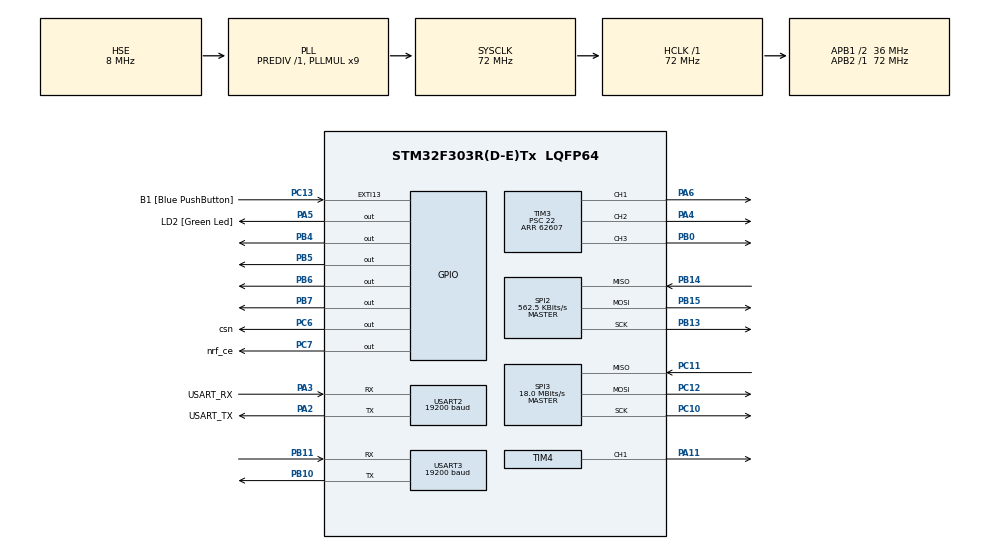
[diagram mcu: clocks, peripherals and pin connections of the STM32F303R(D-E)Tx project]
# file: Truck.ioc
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Mcu.Family=STM32F3
Mcu.Name=STM32F303R(D-E)Tx
Mcu.Package=LQFP64
NVIC.PriorityGroup=NVIC_PRIORITYGROUP_0
NVIC.USART3_IRQn=true\:0\:0\:false\:false\:true\:true\:true
PA11.Signal=S_TIM4_CH1
PA13.GPIO_Label=TMS
PA13.Mode=Serial_Wire
PA13.Signal=SYS_JTMS-SWDIO
PA14.GPIO_Label=TCK
PA14.Mode=Serial_Wire
PA14.Signal=SYS_JTCK-SWCLK
PA2.GPIO_Label=USART_TX
PA2.GPIO_Mode=GPIO_MODE_AF_PP
PA2.GPIO_PuPd=GPIO_NOPULL
PA2.GPIO_Speed=GPIO_SPEED_FREQ_LOW
PA2.Mode=Asynchronous
PA2.Signal=USART2_TX
PA3.GPIO_Label=USART_RX
PA3.GPIO_Mode=GPIO_MODE_AF_PP
PA3.GPIO_PuPd=GPIO_NOPULL
PA3.GPIO_Speed=GPIO_SPEED_FREQ_LOW
PA3.Mode=Asynchronous
PA3.Signal=USART2_RX
PA4.Signal=S_TIM3_CH2
PA5.GPIO_Label=LD2 [Green Led]
PA5.GPIO_Mode=GPIO_MODE_OUTPUT_PP
PA5.GPIO_PuPd=GPIO_NOPULL
PA5.GPIO_Speed=GPIO_SPEED_FREQ_LOW
PA5.Signal=GPIO_Output
PA6.Signal=S_TIM3_CH1
PB0.Signal=S_TIM3_CH3
PB10.Mode=Asynchronous
PB10.Signal=USART3_TX
PB11.Mode=Asynchronous
PB11.Signal=USART3_RX
PB13.Mode=Full_Duplex_Master
PB13.Signal=SPI2_SCK
PB14.Mode=Full_Duplex_Master
PB14.Signal=SPI2_MISO
PB15.Mode=Full_Duplex_Master
PB15.Signal=SPI2_MOSI
PB3.GPIO_Label=SWO
PB3.Signal=SYS_JTDO-TRACESWO
PB4.Signal=GPIO_Output
PB5.Signal=GPIO_Output
PB6.Signal=GPIO_Output
PB7.Signal=GPIO_Output
PC10.Mode=Full_Duplex_Master
PC10.Signal=SPI3_SCK
PC11.Mode=Full_Duplex_Master
PC11.Signal=SPI3_MISO
PC12.Mode=Full_Duplex_Master
PC12.Signal=SPI3_MOSI
PC13.GPIO_Label=B1 [Blue PushButton]
PC13.GPIO_ModeDefaultEXTI=GPIO_MODE_IT_FALLING
PC13.Signal=GPXTI13
PC14-OSC32_IN.Mode=LSE-External-Oscillator
PC14-OSC32_IN.Signal=RCC_OSC32_IN
PC15-OSC32_OUT.Mode=LSE-External-Oscillator
PC15-OSC32_OUT.Signal=RCC_OSC32_OUT
PC6.GPIO_Label=csn
PC6.Signal=GPIO_Output
PC7.GPIO_Label=nrf_ce
PC7.Signal=GPIO_Output
PF0-OSC_IN.Mode=HSE-External-Clock-Source
PF0-OSC_IN.Signal=RCC_OSC_IN
PF1-OSC_OUT.Signal=RCC_OSC_OUT
ProjectManager.HeapSize=0x200
ProjectManager.StackSize=0x400
ProjectManager.TargetToolchain=SW4STM32
RCC.AHBFreq_Value=72000000
RCC.APB1CLKDivider=RCC_HCLK_DIV2
RCC.APB1Freq_Value=36000000
RCC.APB1TimFreq_Value=72000000
RCC.APB2Freq_Value=72000000
RCC.APB2TimFreq_Value=72000000
RCC.CortexFreq_Value=72000000
RCC.HCLKFreq_Value=72000000
RCC.HSE_VALUE=8000000
RCC.HSI_VALUE=8000000
RCC.PLLM=8
RCC.PLLMUL=RCC_PLL_MUL9
RCC.PLLN=336
RCC.PLLP=RCC_PLLP_DIV4
RCC.PLLQ=7
RCC.PLLSourceVirtual=RCC_PLLSOURCE_HSE
RCC.RCC_PLLsource_Clock_Source_FROM_HSE=RCC_HSE_PREDIV_DIV2
RCC.SYSCLKFreq_VALUE=72000000
RCC.SYSCLKSourceVirtual=RCC_SYSCLKSOURCE_PLLCLK
RCC.USBFreq_Value=72000000
SH.S_TIM3_CH1.0=TIM3_CH1,PWM Generation1 CH1
SH.S_TIM3_CH2.0=TIM3_CH2,PWM Generation2 CH2
SH.S_TIM3_CH3.0=TIM3_CH3,PWM Generation3 CH3
SH.S_TIM4_CH1.0=TIM4_CH1,PWM Generation1 CH1
SPI2.BaudRatePrescaler=SPI_BAUDRATEPRESCALER_64
SPI2.CalculateBaudRate=562.5 KBits/s
SPI2.DataSize=SPI_DATASIZE_8BIT
SPI2.Direction=SPI_DIRECTION_2LINES
SPI2.Mode=SPI_MODE_MASTER
SPI2.NSSPMode=SPI_NSS_PULSE_DISABLE
SPI2.VirtualType=VM_MASTER
SPI3.CalculateBaudRate=18.0 MBits/s
SPI3.Direction=SPI_DIRECTION_2LINES
SPI3.Mode=SPI_MODE_MASTER
SPI3.VirtualType=VM_MASTER
TIM3.AutoReloadPreload=TIM_AUTORELOAD_PRELOAD_ENABLE
TIM3.Channel-PWM\ Generation1\ CH1=TIM_CHANNEL_1
TIM3.Channel-PWM\ Generation2\ CH2=TIM_CHANNEL_2
TIM3.Channel-PWM\ Generation3\ CH3=TIM_CHANNEL_3
TIM3.Period=62607
TIM3.Prescaler=22
TIM3.Pulse-PWM\ Generation1\ CH1=4696
TIM4.AutoReloadPreload=TIM_AUTORELOAD_PRELOAD_ENABLE
TIM4.Channel-PWM\ Generation1\ CH1=TIM_CHANNEL_1
TIM4.Period=80
TIM4.Prescaler=200
USART2.AutoBaudRateEnableParam=UART_ADVFEATURE_AUTOBAUDRATE_DISABLE
USART2.BaudRate=19200
USART2.SwapParam=ADVFEATURE_SWAP_DISABLE
USART2.VirtualMode-Asynchronous=VM_ASYNC
USART3.BaudRate=19200
USART3.VirtualMode-Asynchronous=VM_ASYNC
VP_TIM3_VS_ClockSourceINT.Mode=Internal
VP_TIM4_VS_ClockSourceINT.Mode=Internal
board=NUCLEO-F303RE

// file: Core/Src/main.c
/* USER CODE BEGIN Header */
/**
  ******************************************************************************
  * @file           : main.c
  * @brief          : Main program body
  ******************************************************************************
  * @attention
  *
  * <h2><center>&copy; Copyright (c) 2021 STMicroelectronics.
  * All rights reserved.</center></h2>
  *
  * This software component is licensed by ST under BSD 3-Clause license,
  * the "License"; You may not use this file except in compliance with the
  * License. You may obtain a copy of the License at:
  *                        opensource.org/licenses/BSD-3-Clause
  *
  ******************************************************************************
  */
/* USER CODE END Header */
#include "main.h"

/* USER CODE BEGIN Includes */
#include <stdio.h>
#include <errno.h>
#include <sys/stat.h>
#include <sys/times.h>
#include <sys/unistd.h>

#include <stdbool.h>
/* USER CODE END Includes */

SPI_HandleTypeDef hspi2;
SPI_HandleTypeDef hspi3;

TIM_HandleTypeDef htim3;
TIM_HandleTypeDef htim4;

UART_HandleTypeDef huart2;
UART_HandleTypeDef huart3;

/* USER CODE BEGIN PV */
// NRF commando's
const uint8_t R_REGISTER = 0b00000000;
const uint8_t W_REGISTER = 0b00100000;
const uint8_t R_RX_PAYLOAD = 0b01100001;
const uint8_t W_TXPAYLOAD = 0b10100000;
const uint8_t FLUSH_TX = 0b11100001;
const uint8_t FLUSH_RX = 0b11100010;
const uint8_t REUSE_TX_PL = 0b11100011;
const uint8_t R_RX_PL_WID = 0b01100000;
const uint8_t W_ACK_PAYLOAD = 0b10101000;
const uint8_t W_TX_PAYLOAD_NOACK = 0b10110000;
const uint8_t NOP = 0b11111111;

// NRF registers
const uint8_t CONFIG = 0x00;
const uint8_t EN_AA = 0x01;
const uint8_t EN_RXADDR = 0x02;
const uint8_t SETUP_AW = 0x03;
const uint8_t SETUP_RETR = 0x04;
const uint8_t RF_CH = 0x05;
const uint8_t RF_SETUP = 0x06;
const uint8_t STATUS = 0x07;
const uint8_t OBSERVE_TX = 0x08;
const uint8_t RPD = 0x09;
const uint8_t RX_ADDR_P0 = 0x0A;
const uint8_t RX_ADDR_P1 = 0x0B;
const uint8_t RX_ADDR_P2 = 0x0C;
const uint8_t RX_ADDR_P3 = 0x0D;
const uint8_t RX_ADDR_P4 = 0x0E;
const uint8_t RX_ADDR_P5 = 0x0F;
const uint8_t TX_ADDR = 0x10;
const uint8_t RX_PW_P0 = 0x11;
const uint8_t RX_PW_P1 = 0x12;
const uint8_t RW_PW_P1 = 0x13;
const uint8_t RX_PW_P3 = 0x14;
const uint8_t RX_PW_P4 = 0x15;
const uint8_t RX_PW_P5 = 0x16;
const uint8_t FIFO_STATUS = 0x17;
const uint8_t DYNPD = 0x1C;
const uint8_t FEATURE = 0x1D;

#define servoMinAbs 1565 //minimum waarde servo
#define servoMaxAbs 7826
const uint32_t motorMin = 3130; //minimum waarde motor
const uint32_t motorMax = 6260;
uint32_t servoMin = (servoMinAbs+servoMaxAbs)/2-1000;
uint32_t servoMax = (servoMinAbs+servoMaxAbs)/2+1000;
uint8_t RecData[32] = {0};
uint8_t counter = 0;

struct IOs {
	bool Left_Button;
	bool Up_Button;
	bool Down_Button;
	bool Rotary_Button;
	bool Joy2_Button;
	bool FrontLeft_Button;
	bool FrontRight_Button;
	uint8_t Joy1_UpDown;
	uint8_t Joy2_UpDown;
	uint8_t Joy2_LeftRight;
} Status_IO;

uint8_t rxd[10] = {0};
uint8_t UART3_rxBuffer[13] = {0};

/* USER CODE END PV */

void SystemClock_Config(void);
static void MX_GPIO_Init(void);
static void MX_TIM3_Init(void);
static void MX_TIM4_Init(void);
static void MX_SPI2_Init(void);
static void MX_SPI3_Init(void);
static void MX_USART2_UART_Init(void);
static void MX_USART3_UART_Init(void);
/* USER CODE BEGIN PFP */
void Write8_Register_NRF(uint8_t, uint8_t);
uint8_t Read8_Register_NRF(uint8_t);
void CSN_Select(void);
void CSN_Deselect(void);
void Send_Data(uint8_t*);
void NRF_Setup(void);
void WriteX_Register_NRF(uint8_t, uint8_t*, uint8_t);
void Data_Receive(uint8_t*);
uint8_t isDataAvailable (uint8_t);

void Set_Servo_Angle(uint8_t);
void Set_Motor_Speed(uint8_t);
void Print_IO(void);

/* USER CODE END PFP */

/* USER CODE BEGIN 0 */
int _write(int file, char *ptr, int len) {
    HAL_StatusTypeDef xStatus;
    switch (file) {
    case STDOUT_FILENO: /*stdout*/
		xStatus = HAL_UART_Transmit(&huart2, (uint8_t*)ptr, len, HAL_MAX_DELAY);
		if (xStatus != HAL_OK) {
			errno = EIO;
			return -1;
		}
        break;
    case STDERR_FILENO: /* stderr */
		xStatus = HAL_UART_Transmit(&huart2, (uint8_t*)ptr, len, HAL_MAX_DELAY);
		if (xStatus != HAL_OK) {
			errno = EIO;
			return -1;
		}
        break;
    default:
        errno = EBADF;
        return -1;
    }
    return len;
}
/* USER CODE END 0 */

int main(void)
{

  /* MCU Configuration--------------------------------------------------------*/

  /* Reset of all peripherals, Initializes the Flash interface and the Systick. */
  HAL_Init();

  /* Configure the system clock */
  SystemClock_Config();

  /* Initialize all configured peripherals */
  MX_GPIO_Init();
  MX_TIM3_Init();
  MX_TIM4_Init();
  MX_SPI2_Init();
  MX_SPI3_Init();
  MX_USART2_UART_Init();
  MX_USART3_UART_Init();
  /* USER CODE BEGIN 2 */

  printf("starting up: ");

  HAL_UART_Receive_IT(&huart3, UART3_rxBuffer, 13);

  HAL_TIM_PWM_Start(&htim3, TIM_CHANNEL_1); //servo
  HAL_TIM_PWM_Start(&htim3, TIM_CHANNEL_2); //motor 1
  HAL_TIM_PWM_Start(&htim3, TIM_CHANNEL_3); //motor 2

  TIM3->CCR1 = (servoMin+servoMax)/2; //servo in het midden zetten
  TIM3->CCR2 = motorMin; //motors minimum power geven
  TIM3->CCR3 = motorMin;

  HAL_Delay(400); //ESC heeft bij opstarten een tijdje minimum signaal nodig
  //NRF_Setup();

  //HAL_TIM_PWM_Start(&htim4, TIM_CHANNEL_1); //toeter
  //HAL_TIM_PWM_Stop(&htim4, TIM_CHANNEL_1);
  //TIM4->CCR1 = 50; //0% duty cycle

  /* USER CODE END 2 */

  /* Infinite loop */
  /* USER CODE BEGIN WHILE */
  while (1)
  {
	  HAL_Delay(80);
	  //printf("\r\nwhile loop truck: %02X\r\n", counter++);

	  //Print_IO();

	  Set_Motor_Speed(Status_IO.Joy1_UpDown);
	  Set_Servo_Angle(Status_IO.Joy2_LeftRight);

	  if(Status_IO.Down_Button) {
		  //TIM4->CCR1 = 50;
	  } else {
		  //TIM4-> CCR1 = 0;
	  }
	  //get data
	  //setup data

    /* USER CODE END WHILE */

  }
}

void SystemClock_Config(void)
{
  RCC_OscInitTypeDef RCC_OscInitStruct = {0};
  RCC_ClkInitTypeDef RCC_ClkInitStruct = {0};
  RCC_PeriphCLKInitTypeDef PeriphClkInit = {0};

  /** Initializes the RCC Oscillators according to the specified parameters
  * in the RCC_OscInitTypeDef structure.
  */
  RCC_OscInitStruct.OscillatorType = RCC_OSCILLATORTYPE_HSE;
  RCC_OscInitStruct.HSEState = RCC_HSE_BYPASS;
  RCC_OscInitStruct.HSIState = RCC_HSI_ON;
  RCC_OscInitStruct.PLL.PLLState = RCC_PLL_ON;
  RCC_OscInitStruct.PLL.PLLSource = RCC_PLLSOURCE_HSE;
  RCC_OscInitStruct.PLL.PLLMUL = RCC_PLL_MUL9;
  RCC_OscInitStruct.PLL.PREDIV = RCC_PREDIV_DIV1;
  if (HAL_RCC_OscConfig(&RCC_OscInitStruct) != HAL_OK)
  {
    Error_Handler();
  }
  /** Initializes the CPU, AHB and APB buses clocks
  */
  RCC_ClkInitStruct.ClockType = RCC_CLOCKTYPE_HCLK|RCC_CLOCKTYPE_SYSCLK
                              |RCC_CLOCKTYPE_PCLK1|RCC_CLOCKTYPE_PCLK2;
  RCC_ClkInitStruct.SYSCLKSource = RCC_SYSCLKSOURCE_PLLCLK;
  RCC_ClkInitStruct.AHBCLKDivider = RCC_SYSCLK_DIV1;
  RCC_ClkInitStruct.APB1CLKDivider = RCC_HCLK_DIV2;
  RCC_ClkInitStruct.APB2CLKDivider = RCC_HCLK_DIV1;

  if (HAL_RCC_ClockConfig(&RCC_ClkInitStruct, FLASH_LATENCY_2) != HAL_OK)
  {
    Error_Handler();
  }
  PeriphClkInit.PeriphClockSelection = RCC_PERIPHCLK_USART2|RCC_PERIPHCLK_USART3
                              |RCC_PERIPHCLK_TIM34;
  PeriphClkInit.Usart2ClockSelection = RCC_USART2CLKSOURCE_PCLK1;
  PeriphClkInit.Usart3ClockSelection = RCC_USART3CLKSOURCE_PCLK1;
  PeriphClkInit.Tim34ClockSelection = RCC_TIM34CLK_HCLK;
  if (HAL_RCCEx_PeriphCLKConfig(&PeriphClkInit) != HAL_OK)
  {
    Error_Handler();
  }
}

static void MX_SPI2_Init(void)
{

  /* SPI2 parameter configuration*/
  hspi2.Instance = SPI2;
  hspi2.Init.Mode = SPI_MODE_MASTER;
  hspi2.Init.Direction = SPI_DIRECTION_2LINES;
  hspi2.Init.DataSize = SPI_DATASIZE_8BIT;
  hspi2.Init.CLKPolarity = SPI_POLARITY_LOW;
  hspi2.Init.CLKPhase = SPI_PHASE_1EDGE;
  hspi2.Init.NSS = SPI_NSS_SOFT;
  hspi2.Init.BaudRatePrescaler = SPI_BAUDRATEPRESCALER_64;
  hspi2.Init.FirstBit = SPI_FIRSTBIT_MSB;
  hspi2.Init.TIMode = SPI_TIMODE_DISABLE;
  hspi2.Init.CRCCalculation = SPI_CRCCALCULATION_DISABLE;
  hspi2.Init.CRCPolynomial = 7;
  hspi2.Init.CRCLength = SPI_CRC_LENGTH_DATASIZE;
  hspi2.Init.NSSPMode = SPI_NSS_PULSE_DISABLE;
  if (HAL_SPI_Init(&hspi2) != HAL_OK)
  {
    Error_Handler();
  }

}

static void MX_SPI3_Init(void)
{

  /* SPI3 parameter configuration*/
  hspi3.Instance = SPI3;
  hspi3.Init.Mode = SPI_MODE_MASTER;
  hspi3.Init.Direction = SPI_DIRECTION_2LINES;
  hspi3.Init.DataSize = SPI_DATASIZE_4BIT;
  hspi3.Init.CLKPolarity = SPI_POLARITY_LOW;
  hspi3.Init.CLKPhase = SPI_PHASE_1EDGE;
  hspi3.Init.NSS = SPI_NSS_SOFT;
  hspi3.Init.BaudRatePrescaler = SPI_BAUDRATEPRESCALER_2;
  hspi3.Init.FirstBit = SPI_FIRSTBIT_MSB;
  hspi3.Init.TIMode = SPI_TIMODE_DISABLE;
  hspi3.Init.CRCCalculation = SPI_CRCCALCULATION_DISABLE;
  hspi3.Init.CRCPolynomial = 7;
  hspi3.Init.CRCLength = SPI_CRC_LENGTH_DATASIZE;
  hspi3.Init.NSSPMode = SPI_NSS_PULSE_ENABLE;
  if (HAL_SPI_Init(&hspi3) != HAL_OK)
  {
    Error_Handler();
  }

}

static void MX_TIM3_Init(void)
{

  TIM_ClockConfigTypeDef sClockSourceConfig = {0};
  TIM_MasterConfigTypeDef sMasterConfig = {0};
  TIM_OC_InitTypeDef sConfigOC = {0};

  htim3.Instance = TIM3;
  htim3.Init.Prescaler = 22;
  htim3.Init.CounterMode = TIM_COUNTERMODE_UP;
  htim3.Init.Period = 62607;
  htim3.Init.ClockDivision = TIM_CLOCKDIVISION_DIV1;
  htim3.Init.AutoReloadPreload = TIM_AUTORELOAD_PRELOAD_ENABLE;
  if (HAL_TIM_Base_Init(&htim3) != HAL_OK)
  {
    Error_Handler();
  }
  sClockSourceConfig.ClockSource = TIM_CLOCKSOURCE_INTERNAL;
  if (HAL_TIM_ConfigClockSource(&htim3, &sClockSourceConfig) != HAL_OK)
  {
    Error_Handler();
  }
  if (HAL_TIM_PWM_Init(&htim3) != HAL_OK)
  {
    Error_Handler();
  }
  sMasterConfig.MasterOutputTrigger = TIM_TRGO_RESET;
  sMasterConfig.MasterSlaveMode = TIM_MASTERSLAVEMODE_DISABLE;
  if (HAL_TIMEx_MasterConfigSynchronization(&htim3, &sMasterConfig) != HAL_OK)
  {
    Error_Handler();
  }
  sConfigOC.OCMode = TIM_OCMODE_PWM1;
  sConfigOC.Pulse = 4696;
  sConfigOC.OCPolarity = TIM_OCPOLARITY_HIGH;
  sConfigOC.OCFastMode = TIM_OCFAST_DISABLE;
  if (HAL_TIM_PWM_ConfigChannel(&htim3, &sConfigOC, TIM_CHANNEL_1) != HAL_OK)
  {
    Error_Handler();
  }
  sConfigOC.Pulse = 0;
  if (HAL_TIM_PWM_ConfigChannel(&htim3, &sConfigOC, TIM_CHANNEL_2) != HAL_OK)
  {
    Error_Handler();
  }
  if (HAL_TIM_PWM_ConfigChannel(&htim3, &sConfigOC, TIM_CHANNEL_3) != HAL_OK)
  {
    Error_Handler();
  }
  HAL_TIM_MspPostInit(&htim3);

}

static void MX_TIM4_Init(void)
{

  TIM_ClockConfigTypeDef sClockSourceConfig = {0};
  TIM_MasterConfigTypeDef sMasterConfig = {0};
  TIM_OC_InitTypeDef sConfigOC = {0};

  htim4.Instance = TIM4;
  htim4.Init.Prescaler = 200;
  htim4.Init.CounterMode = TIM_COUNTERMODE_UP;
  htim4.Init.Period = 80;
  htim4.Init.ClockDivision = TIM_CLOCKDIVISION_DIV1;
  htim4.Init.AutoReloadPreload = TIM_AUTORELOAD_PRELOAD_ENABLE;
  if (HAL_TIM_Base_Init(&htim4) != HAL_OK)
  {
    Error_Handler();
  }
  sClockSourceConfig.ClockSource = TIM_CLOCKSOURCE_INTERNAL;
  if (HAL_TIM_ConfigClockSource(&htim4, &sClockSourceConfig) != HAL_OK)
  {
    Error_Handler();
  }
  if (HAL_TIM_PWM_Init(&htim4) != HAL_OK)
  {
    Error_Handler();
  }
  sMasterConfig.MasterOutputTrigger = TIM_TRGO_RESET;
  sMasterConfig.MasterSlaveMode = TIM_MASTERSLAVEMODE_DISABLE;
  if (HAL_TIMEx_MasterConfigSynchronization(&htim4, &sMasterConfig) != HAL_OK)
  {
    Error_Handler();
  }
  sConfigOC.OCMode = TIM_OCMODE_PWM1;
  sConfigOC.Pulse = 0;
  sConfigOC.OCPolarity = TIM_OCPOLARITY_HIGH;
  sConfigOC.OCFastMode = TIM_OCFAST_DISABLE;
  if (HAL_TIM_PWM_ConfigChannel(&htim4, &sConfigOC, TIM_CHANNEL_1) != HAL_OK)
  {
    Error_Handler();
  }
  HAL_TIM_MspPostInit(&htim4);

}

static void MX_USART2_UART_Init(void)
{

  huart2.Instance = USART2;
  huart2.Init.BaudRate = 19200;
  huart2.Init.WordLength = UART_WORDLENGTH_8B;
  huart2.Init.StopBits = UART_STOPBITS_1;
  huart2.Init.Parity = UART_PARITY_NONE;
  huart2.Init.Mode = UART_MODE_TX_RX;
  huart2.Init.HwFlowCtl = UART_HWCONTROL_NONE;
  huart2.Init.OverSampling = UART_OVERSAMPLING_16;
  huart2.Init.OneBitSampling = UART_ONE_BIT_SAMPLE_DISABLE;
  huart2.AdvancedInit.AdvFeatureInit = UART_ADVFEATURE_NO_INIT;
  if (HAL_UART_Init(&huart2) != HAL_OK)
  {
    Error_Handler();
  }

}

static void MX_USART3_UART_Init(void)
{

  huart3.Instance = USART3;
  huart3.Init.BaudRate = 19200;
  huart3.Init.WordLength = UART_WORDLENGTH_8B;
  huart3.Init.StopBits = UART_STOPBITS_1;
  huart3.Init.Parity = UART_PARITY_NONE;
  huart3.Init.Mode = UART_MODE_TX_RX;
  huart3.Init.HwFlowCtl = UART_HWCONTROL_NONE;
  huart3.Init.OverSampling = UART_OVERSAMPLING_16;
  huart3.Init.OneBitSampling = UART_ONE_BIT_SAMPLE_DISABLE;
  huart3.AdvancedInit.AdvFeatureInit = UART_ADVFEATURE_NO_INIT;
  if (HAL_UART_Init(&huart3) != HAL_OK)
  {
    Error_Handler();
  }

}

static void MX_GPIO_Init(void)
{
  GPIO_InitTypeDef GPIO_InitStruct = {0};

  /* GPIO Ports Clock Enable */
  __HAL_RCC_GPIOC_CLK_ENABLE();
  __HAL_RCC_GPIOF_CLK_ENABLE();
  __HAL_RCC_GPIOA_CLK_ENABLE();
  __HAL_RCC_GPIOB_CLK_ENABLE();

  /*Configure GPIO pin Output Level */
  HAL_GPIO_WritePin(LD2_GPIO_Port, LD2_Pin, GPIO_PIN_RESET);

  /*Configure GPIO pin Output Level */
  HAL_GPIO_WritePin(GPIOC, csn_Pin|nrf_ce_Pin, GPIO_PIN_RESET);

  /*Configure GPIO pin Output Level */
  HAL_GPIO_WritePin(GPIOB, GPIO_PIN_4|GPIO_PIN_5|GPIO_PIN_6|GPIO_PIN_7, GPIO_PIN_RESET);

  /*Configure GPIO pin : B1_Pin */
  GPIO_InitStruct.Pin = B1_Pin;
  GPIO_InitStruct.Mode = GPIO_MODE_IT_FALLING;
  GPIO_InitStruct.Pull = GPIO_NOPULL;
  HAL_GPIO_Init(B1_GPIO_Port, &GPIO_InitStruct);

  /*Configure GPIO pin : LD2_Pin */
  GPIO_InitStruct.Pin = LD2_Pin;
  GPIO_InitStruct.Mode = GPIO_MODE_OUTPUT_PP;
  GPIO_InitStruct.Pull = GPIO_NOPULL;
  GPIO_InitStruct.Speed = GPIO_SPEED_FREQ_LOW;
  HAL_GPIO_Init(LD2_GPIO_Port, &GPIO_InitStruct);

  /*Configure GPIO pins : csn_Pin nrf_ce_Pin */
  GPIO_InitStruct.Pin = csn_Pin|nrf_ce_Pin;
  GPIO_InitStruct.Mode = GPIO_MODE_OUTPUT_PP;
  GPIO_InitStruct.Pull = GPIO_NOPULL;
  GPIO_InitStruct.Speed = GPIO_SPEED_FREQ_LOW;
  HAL_GPIO_Init(GPIOC, &GPIO_InitStruct);

  /*Configure GPIO pins : PB4 PB5 PB6 PB7 */
  GPIO_InitStruct.Pin = GPIO_PIN_4|GPIO_PIN_5|GPIO_PIN_6|GPIO_PIN_7;
  GPIO_InitStruct.Mode = GPIO_MODE_OUTPUT_PP;
  GPIO_InitStruct.Pull = GPIO_NOPULL;
  GPIO_InitStruct.Speed = GPIO_SPEED_FREQ_LOW;
  HAL_GPIO_Init(GPIOB, &GPIO_InitStruct);

}

/* USER CODE BEGIN 4 */

uint8_t Count13(uint8_t val) {
	if (val<13) {
		return val;
	} else {
		return (val-13);
	}
}

void HAL_UART_RxCpltCallback(UART_HandleTypeDef *huart)
{
	for(uint8_t i = 0; i<13; i++) {
		printf("%u ", UART3_rxBuffer[i]);
	} printf("\r\n");

	uint8_t i = 0;
	while (UART3_rxBuffer[Count13(i)] != 0x41 || UART3_rxBuffer[Count13(i+1)] != 0x41 || UART3_rxBuffer[Count13(i+2)] != 0x41) {
		i++;
	}
	//printf("bytes shifted: %u", i);

	Status_IO.Left_Button = UART3_rxBuffer[Count13(i+3)];
	Status_IO.Up_Button = UART3_rxBuffer[Count13(i+4)];
	Status_IO.Down_Button = UART3_rxBuffer[Count13(i+5)];
	Status_IO.Rotary_Button = UART3_rxBuffer[Count13(i+6)];
	Status_IO.Joy2_Button = UART3_rxBuffer[Count13(i+7)];
	Status_IO.FrontLeft_Button = UART3_rxBuffer[Count13(i+8)];
	Status_IO.FrontRight_Button = UART3_rxBuffer[Count13(i+9)];
	Status_IO.Joy1_UpDown = UART3_rxBuffer[Count13(i+10)];
	Status_IO.Joy2_UpDown = UART3_rxBuffer[Count13(i+11)];
	Status_IO.Joy2_LeftRight = UART3_rxBuffer[Count13(i+12)];

	//Print_IO();

    HAL_UART_Receive_IT(&huart3, UART3_rxBuffer, 13);
}

void Print_IO() {
	printf("IO status:\r\n");
	printf("Buttons: LB=%d, UB=%d, DB=%d, RB=%d, J2B=%d\r\n",
			Status_IO.Left_Button,
			Status_IO.Up_Button,
			Status_IO.Down_Button,
			Status_IO.Rotary_Button,
			Status_IO.Joy2_Button);

	printf("ADC: 1-UD=%u, 2-UD=%u, 2-LR=%u\r\n",
			Status_IO.Joy1_UpDown,
			Status_IO.Joy2_UpDown,
			Status_IO.Joy2_LeftRight);
}

void Read_Data() {
	//fill
}

void Set_Motor_Speed(uint8_t speed) {
	uint32_t signal = (motorMax-motorMin)*speed/255+motorMin;

	if (signal<motorMin) {
		printf("Motor signal to low: %lu\r\n", signal);
		signal = motorMin;
	} else if (signal > motorMax) {
		printf("Motor signal to high: %lu\r\n", signal);
		signal = motorMax;
	}

	TIM3->CCR2 = signal;
	TIM3->CCR3 = signal;
}

void Set_Servo_Angle(uint8_t angle) {
	uint32_t signal = (servoMax-servoMin)*angle/255+servoMin;

	if (signal<servoMin) {
		printf("Servo signal to low: %lu\r\n", signal);
		signal = servoMin;
	} else if (signal > servoMax) {
		printf("Servo signal to high: %lu\r\n", signal);
		signal = servoMax;
	}

	TIM3->CCR1 = signal;
}

uint8_t Read8_Register_NRF(uint8_t reg) {
	uint8_t data = 0;

	CSN_Select();
	HAL_SPI_Transmit(&hspi2, &reg, 1, 100);
	while(HAL_SPI_GetState(&hspi2) != HAL_SPI_STATE_READY);
	HAL_SPI_Receive(&hspi2, &data, 1, 100);
	CSN_Deselect();

	printf("Receive %02X: %02X\r\n", reg, data);
	return 0;
}

void Write8_Register_NRF(uint8_t reg, uint8_t data) {
	uint8_t buf[2];

	buf[0] = reg|W_REGISTER;
	buf[1] = data;

	CSN_Select();
	HAL_SPI_Transmit(&hspi2, buf, 2, 1000);
	CSN_Deselect();
}

void WriteX_Register_NRF(uint8_t reg, uint8_t *data, uint8_t size) {
	CSN_Select();

	uint8_t cmd = reg|W_REGISTER;

	HAL_SPI_Transmit(&hspi2, &cmd, 1, 100);
	HAL_SPI_Transmit(&hspi2, data, size, 1000);
	/*
	uint8_t sent[1+size];
	uint8_t cmd = reg|W_REGISTER;
	sent[0] = cmd;

	HAL_StatusTypeDef result;
	result = HAL_SPI_Transmit(&hspi2, sent, size+1, 1000);
	printf("Result: %u\r\n", result);
//	HAL_SPI_Transmit(&hspi1, &cmd, 1, 100);
//	HAL_SPI_Transmit(&hspi1, data, size, 1000);
*/

	CSN_Deselect();
}

uint8_t* ReadX_Register_NRF(uint8_t reg, uint8_t size) {
	uint8_t data[32] = {0};

	CSN_Select();
	HAL_SPI_Transmit(&hspi2, &reg, 1, 100);
	HAL_SPI_Receive(&hspi2, data, size, 1000);
	CSN_Deselect();

	for (uint8_t i = 0; i<size; i++) {
		printf("%02X ", i);
	}
	printf("\r\n");
	return 0;
}

void Send_Cmd(uint8_t cmd) {
	CSN_Select();
	HAL_SPI_Transmit(&hspi2, &cmd, 1, 100);
	CSN_Deselect();
}

void Send_Data(uint8_t *data) {

	uint8_t cmd = W_TXPAYLOAD;
	CSN_Select();
	HAL_SPI_Transmit(&hspi2, &cmd, 1, 100);
	HAL_SPI_Transmit(&hspi2, data, 32, 1000);
	CSN_Deselect();

	printf("observe tx");
	Read8_Register_NRF(OBSERVE_TX);

	printf("fifo status");
	uint8_t fifostatus = Read8_Register_NRF(FIFO_STATUS);
	// check the fourth bit of FIFO_STATUS to know if the TX fifo is empty
	if ((fifostatus&(1<<4)) && (!(fifostatus&(1<<3))))
		{
			printf("Fifo full\r\n");
			cmd = FLUSH_TX;
			Send_Cmd(cmd);
		} else {
			//printf("empty\r\n");
		}
}

uint8_t isDataAvailable (uint8_t pipenum)
{
	printf("Status ");
	uint8_t status = Read8_Register_NRF(STATUS);
	printf("FIFO_STATUS ");
	Read8_Register_NRF(FIFO_STATUS);

	if ((status&(1<<6))||1) //&&(status&(pipenum<<1))
	{

		Write8_Register_NRF(STATUS, (1<<6));

		return 1;
	}

	return 0;
}

void NRF_Setup() {
	printf("\r\n\r\nBegin setup NRFFF\r\n");
	CSN_Deselect();
	HAL_GPIO_WritePin(nrf_ce_GPIO_Port, nrf_ce_Pin, GPIO_PIN_RESET);

	HAL_Delay(50);

	Read8_Register_NRF(SETUP_AW);
	Write8_Register_NRF(SETUP_AW, 0x03);
	Read8_Register_NRF(SETUP_AW);

	Write8_Register_NRF(CONFIG, 0);
	Read8_Register_NRF(CONFIG);
	Write8_Register_NRF(CONFIG, 0b10001011); //power up bit
	Read8_Register_NRF(CONFIG);
	HAL_Delay(10);

	Read8_Register_NRF(RF_CH);
	Write8_Register_NRF(RF_CH, 15); //zet channel naar 15
	Read8_Register_NRF(RF_CH);

	Read8_Register_NRF(RF_SETUP);
	Write8_Register_NRF(RF_SETUP, 0x0E);  //set RF_DR_LOW (250kbit) in RF_SETUP 0b00101110
	Read8_Register_NRF(RF_SETUP);

	Write8_Register_NRF(EN_AA, 1);
	Write8_Register_NRF(SETUP_RETR, 0b01001111);

	ReadX_Register_NRF(TX_ADDR, 5);
	uint8_t addr[6] = "00001";
	WriteX_Register_NRF(TX_ADDR, addr, 5);
	ReadX_Register_NRF(TX_ADDR, 5);

	ReadX_Register_NRF(RX_ADDR_P0, 5);
	WriteX_Register_NRF(RX_ADDR_P0, addr,5);
	ReadX_Register_NRF(RX_ADDR_P0, 5);

	Read8_Register_NRF(EN_RXADDR);
	Write8_Register_NRF(EN_RXADDR, 1);
	Read8_Register_NRF(EN_RXADDR);

	Read8_Register_NRF(RX_PW_P0);
	Write8_Register_NRF(RX_PW_P0, 32);
	Read8_Register_NRF(RX_PW_P0);

	printf("Status: ");
	uint8_t sta = Read8_Register_NRF(STATUS);
	Write8_Register_NRF(STATUS, sta);
	Read8_Register_NRF(STATUS);

	//set nrf ce voor te enabled te gaan
	HAL_GPIO_WritePin(nrf_ce_GPIO_Port, nrf_ce_Pin, GPIO_PIN_SET);
}

void Data_Receive (uint8_t *data)
{
	CSN_Select();

	uint8_t cmdtosend = R_RX_PAYLOAD;

	HAL_SPI_Transmit(&hspi2, &cmdtosend, 1, 100);
	HAL_SPI_Receive(&hspi2, data, 32, 1000);

	CSN_Deselect();

	HAL_Delay(1);

	//Send_Cmd(FLUSH_RX);
}

void CSN_Select() {
	HAL_GPIO_WritePin(csn_GPIO_Port, csn_Pin, GPIO_PIN_RESET);
}

void CSN_Deselect() {
	HAL_GPIO_WritePin(csn_GPIO_Port, csn_Pin, GPIO_PIN_SET);
}
/* USER CODE END 4 */

void Error_Handler(void)
{
  __disable_irq();
  while (1)
  {
  }
}

/************************ (C) COPYRIGHT STMicroelectronics *****END OF FILE****/
